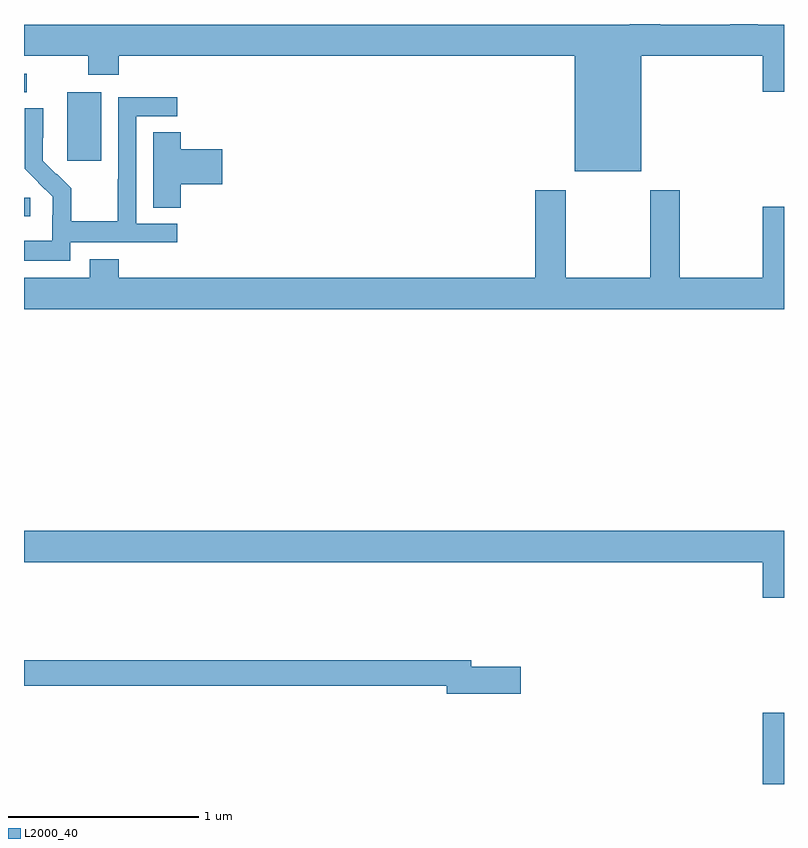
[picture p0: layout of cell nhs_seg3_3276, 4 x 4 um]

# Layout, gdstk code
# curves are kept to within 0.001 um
import gdstk
lib = gdstk.Library(unit=1e-6, precision=1e-09)
def R(c, l, rs):  # rectangles x0, y0, x1, y1
    for r in rs: c.add(gdstk.rectangle(r[:2], r[2:], *l))
def P(c, l, *ps):  # polygons
    for p in ps: c.add(gdstk.Polygon(p, *l))
L2000_40 = (2000, 40)

nhs_seg3_3276 = lib.new_cell('nhs_seg3_3276')
R(nhs_seg3_3276, L2000_40, [(284.888,714.4,285,714.775), (281,717.389,281.032,717.486), (281.228,717.681,281.407,718.042), (281,718.041,281.014,718.137)])
P(nhs_seg3_3276, L2000_40, [(281,718.232),(281.338,718.232),(281.338,718.133),(281.498,718.133),(281.498,718.232),(283.898,718.232),(283.898,717.626),(284.248,717.626),(284.248,718.232),(284.888,718.232),(284.888,718.044),(285,718.044),(285,718.396),(284.862,718.396),(284.862,718.4),(284.716,718.4),(284.716,718.396),(284.349,718.396),(284.349,718.4),(284.189,718.4),(284.189,718.396),(281,718.396)],
  [(281.244,717.252),(281.806,717.252),(281.806,717.348),(281.592,717.348),(281.592,717.915),(281.806,717.915),(281.806,718.014),(281.496,718.014),(281.496,717.584),(281.494,717.584),(281.494,717.361),(281.249,717.361),(281.249,717.535),(281.172,717.612),(281.169,717.609),(281.099,717.68),(281.1,717.956),(281.004,717.956),(281.004,717.638),(281.15,717.49),(281.15,717.393),(281.148,717.393),(281.148,717.259),(281,717.259),(281,717.155),(281.244,717.155)],
  [(281.825,717.557),(282.043,717.557),(282.043,717.74),(281.825,717.74),(281.825,717.83),(281.681,717.83),(281.681,717.433),(281.825,717.433)],
  [(285,717.439),(284.888,717.439),(284.888,717.064),(284.451,717.064),(284.451,717.526),(284.296,717.526),(284.296,717.064),(283.851,717.064),(283.851,717.526),(283.691,717.526),(283.691,717.064),(281.498,717.064),(281.498,717.163),(281.345,717.163),(281.345,717.064),(281,717.064),(281,716.9),(285,716.9)],
  [(285,715.732),(281,715.732),(281,715.568),(284.888,715.568),(284.888,715.38),(285,715.38)],
  [(283.615,715.016),(283.354,715.016),(283.354,715.052),(281,715.052),(281,714.916),(283.226,714.916),(283.226,714.874),(283.615,714.874)])

lib.write_gds('nhs_seg3_3276.gds')
